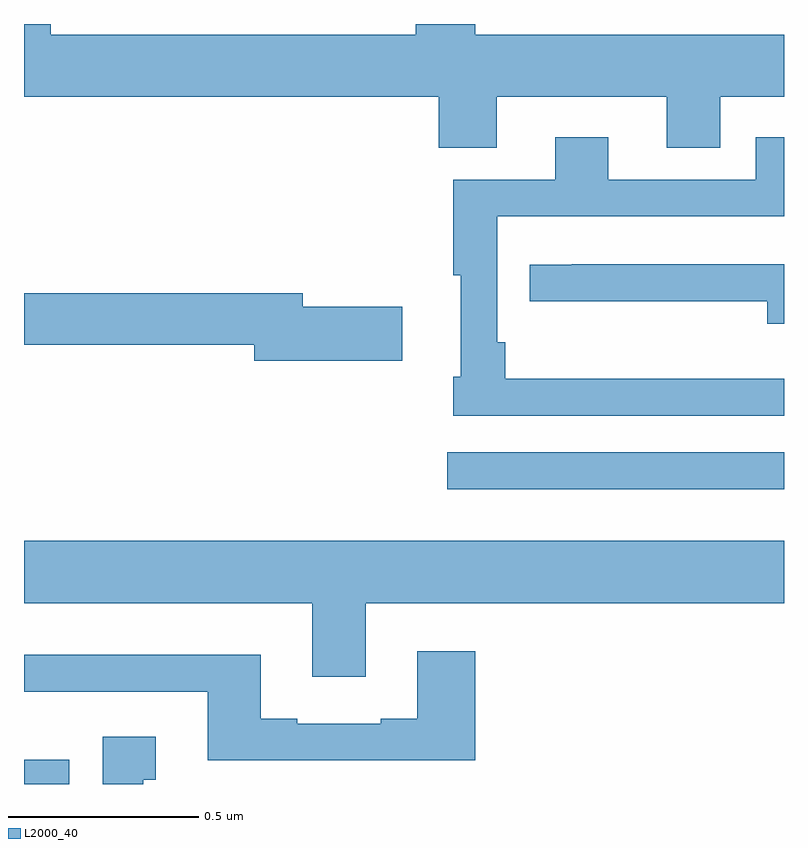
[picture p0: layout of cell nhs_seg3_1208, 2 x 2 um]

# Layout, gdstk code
import gdstk
lib = gdstk.Library(unit=1e-6, precision=1e-09)
def R(c, l, rs):  # rectangles x0, y0, x1, y1
    for r in rs: c.add(gdstk.rectangle(r[:2], r[2:], *l))
def P(c, l, *ps):  # polygons
    for p in ps: c.add(gdstk.Polygon(p, *l))
L2000_40 = (2000, 40)

nhs_seg3_1208 = lib.new_cell('nhs_seg3_1208')
R(nhs_seg3_1208, L2000_40, [(125,740.4,125.119,740.464), (126.114,741.176,127,741.273)])
P(nhs_seg3_1208, L2000_40, [(126.244,742.208),(126.692,742.208),(126.692,742.075),(126.832,742.075),(126.832,742.208),(127,742.208),(127,742.372),(126.188,742.372),(126.188,742.4),(126.031,742.4),(126.031,742.372),(125.071,742.372),(125.071,742.4),(125,742.4),(125,742.208),(126.092,742.208),(126.092,742.075),(126.244,742.075)],
  [(127,741.466),(126.86,741.466),(126.86,741.467),(126.266,741.467),(126.266,741.562),(126.246,741.562),(126.246,741.894),(127,741.894),(127,742.102),(126.926,742.102),(126.926,741.99),(126.538,741.99),(126.538,742.102),(126.398,742.102),(126.398,741.99),(126.13,741.99),(126.13,741.739),(126.149,741.739),(126.149,741.472),(126.13,741.472),(126.13,741.369),(127,741.369)],
  [(127,741.768),(126.442,741.768),(126.442,741.767),(126.331,741.767),(126.331,741.671),(126.956,741.671),(126.956,741.611),(127,741.611)],
  [(125.995,741.656),(125.734,741.656),(125.734,741.692),(125,741.692),(125,741.556),(125.606,741.556),(125.606,741.514),(125.995,741.514)],
  [(125.899,740.876),(127,740.876),(127,741.04),(125,741.04),(125,740.876),(125.759,740.876),(125.759,740.682),(125.899,740.682)],
  [(126.188,740.749),(126.035,740.749),(126.035,740.572),(125.939,740.572),(125.939,740.559),(125.719,740.559),(125.719,740.572),(125.623,740.572),(125.623,740.74),(125,740.74),(125,740.643),(125.483,740.643),(125.483,740.462),(126.188,740.462)],
  [(125.314,740.411),(125.347,740.411),(125.347,740.524),(125.207,740.524),(125.207,740.4),(125.314,740.4)])

lib.write_gds('nhs_seg3_1208.gds')
